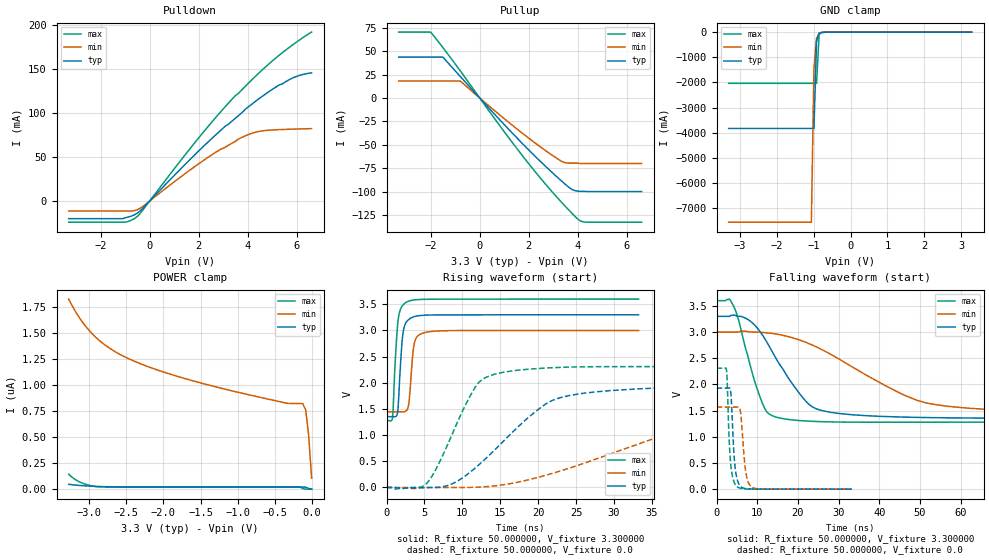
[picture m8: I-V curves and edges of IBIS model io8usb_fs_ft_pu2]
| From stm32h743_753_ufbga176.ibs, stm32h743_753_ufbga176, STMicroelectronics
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|   Model io8usb_fs_ft_pu2
[Model]  io8usb_fs_ft_pu2
Model_type I/O
Polarity   Non-Inverting
Enable   Active-Low
Vinl =   0.990000V
Vinh =   2.310000V
Vmeas =  1.650000V
Cref =   50.000000pF
Rref =   100.000000M
Vref =   0.0V
C_comp   7.942700pF   7.938600pF   8.018200pF
[Temperature Range]   25.000000   0.140000k   -40.000000
[Pullup Reference]   3.300000V   3.000000V   3.600000V
[Pulldown Reference]   0.0V   0.0V   0.0V
[POWER Clamp Reference]   3.300000V   3.000000V   3.600000V
[GND Clamp Reference]   0.0V   0.0V   0.0V
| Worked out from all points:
|   slope of the pulldown table from 0 to 0.495 V, typ, clamps not added: 34.4 ohm
|   slope of the pullup table from 0 to 0.495 V, typ, clamps not added: 34.9 ohm
|   GND clamp passes 1 mA (typ) near -0.48 V on its own axis
|   rising waveform, R_fixture 50.000000, V_fixture 3.300000: 20-80 % time 525ps typ, 539ps min, 539ps max; typ from 1.35 V to 3.3 V
|   rising waveform, R_fixture 50.000000, V_fixture 0.0: 20-80 % time 8.68ns typ, 19.1ns min, 4.5ns max; typ from 0 V to 1.93 V
|   falling waveform, R_fixture 50.000000, V_fixture 3.300000: 20-80 % time 9.71ns typ, 22.1ns min, 5.03ns max; typ from 3.3 V to 1.35 V
|   falling waveform, R_fixture 50.000000, V_fixture 0.0: 20-80 % time 881ps typ, 1.06ns min, 801ps max; typ from 1.93 V to 0 V
[Pulldown]
|Voltage   I(typ)   I(min)   I(max)
-3.3V     -20mA      -11.33mA   -24mA
-1.1V     -20mA      -11.33mA   -24mA
-1V       -19mA      -11.33mA   -24mA
-700mV    -16.61mA   -11.3mA    -21.09mA
-500mV    -13.7mA    -9.827mA   -17.43mA
2.2V      62.14mA    46.1mA     78.41mA
3.2V      86.85mA    63.07mA    110.6mA
3.8V      101.2mA    72.7mA     127.3mA
4.4V      114.8mA    78.57mA    143.7mA
5.3V      131.9mA    80.97mA    165.8mA
6V        141.4mA    81.64mA    180.5mA
6.6V      145.3mA    82.11mA    191.5mA
[Pullup]
|Voltage   I(typ)   I(min)   I(max)
-3.3V     43.61mA    18mA       70.29mA
-2V       43.61mA    18mA       70.29mA
-1.5V     43.61mA    18mA       53.8mA
-800mV    23.19mA    18mA       29.26mA
1.3V      -36.7mA    -28.54mA   -46.53mA
2.1V      -58.14mA   -44.97mA   -73.52mA
2.8V      -75.87mA   -58.37mA   -95.62mA
3.4V      -90.14mA   -68.4mA    -113.2mA
3.7V      -96.75mA   -69.59mA   -121.5mA
4V        -99.6mA    -69.59mA   -129.4mA
4.3V      -99.82mA   -70mA      -132.6mA
6.6V      -100mA     -70mA      -132.7mA
[GND_clamp]
|Voltage   I(typ)   I(min)   I(max)
-3.3V     -3.828A    -7.552A    -2.036A
-1.06V    -3.828A    -7.552A    -2.036A
-990mV    -3.828A    -1.425A    -2.036A
-920mV    -368.6mA   -243.1mA   -2.036A
-850mV    -40.93mA   -46.27mA   -98.44mA
-780mV    -13.14mA   -14.53mA   -15.81mA
-500mV    -1.208mA   -1.769mA   -1.059mA
3.28V     0A         -16.27nA   0A
[POWER_clamp]
|Voltage   I(typ)   I(min)   I(max)
-3.28V    46.7nA     1.827uA    143.8nA
-3.12V    34.88nA    1.631uA    65.26nA
-2.92V    26.91nA    1.463uA    25.4nA
-2.72V    22.4nA     1.351uA    21.72nA
-2.44V    19.67nA    1.244uA    21.72nA
-1.96V    19.67nA    1.117uA    21.72nA
-1.32V    19.67nA    987.7nA    21.72nA
-360mV    19.67nA    829.8nA    21.72nA
-120mV    19.67nA    821.7nA    6.261nA
-80mV     19.67nA    761.5nA    0A
-40mV     6.698nA    517.9nA    0A
0V        0A         105.7nA    0A
[Ramp]
| variable   typ   min   max
dV/dt_r  1.15824/8.67018n   0.94001/19.11307n   1.38576/4.49627n
dV/dt_f  1.16784/9.69381n   0.91770/22.03820n   1.39272/5.02666n
R_load = 50.000000
[Rising Waveform]
R_fixture= 50.000000
V_fixture= 3.300000
V_fixture_min= 3.000000
V_fixture_max= 3.600000
|time   V(typ)   V(min)   V(max)
0s        1.353V     1.446V     1.279V
800.8ps   1.354V     1.446V     1.345V
1.134ns   1.352V     1.446V     2.376V
1.468ns   1.441V     1.446V     3.119V
2.069ns   2.816V     1.445V     3.467V
2.669ns   3.172V     1.477V     3.545V
3.003ns   3.218V     1.682V     3.564V
3.67ns    3.266V     2.755V     3.584V
4.805ns   3.289V     2.95V      3.594V
33.23ns   3.3V       3V         3.6V
|33.233233nS   3.300000V   3.000000V   3.600000V
[Rising Waveform]
R_fixture= 50.000000
V_fixture= 0.0
V_fixture_min= 0.0
V_fixture_max= 0.0
|time   V(typ)   V(min)   V(max)
0s        309.7nV    10.39uV    -6.464uV
5.205ns   -1.407mV   -1.743mV   66.19mV
8.408ns   54.4mV     -666.4uV   933.9mV
11.81ns   386.3mV    4.649mV    1.941V
16.02ns   971.4mV    65.64mV    2.216V
20.82ns   1.579V     226mV      2.28V
24.02ns   1.755V     365.7mV    2.3V
39.64ns   1.917V     1.155V     2.31V
46.65ns   1.928V     1.377V     2.31V
99.7ns    1.93V      1.567V     2.31V
[Falling Waveform]
R_fixture= 50.000000
V_fixture= 3.300000
V_fixture_min= 3.000000
V_fixture_max= 3.600000
|time   V(typ)   V(min)   V(max)
0s        3.3V       3V         3.6V
3.203ns   3.3V       3V         3.63V
4.204ns   3.323V     3V         3.495V
11.01ns   2.974V     2.995V     1.693V
12.41ns   2.802V     2.985V     1.472V
14.61ns   2.497V     2.962V     1.377V
22.22ns   1.657V     2.795V     1.301V
28.03ns   1.468V     2.577V     1.285V
51.85ns   1.367V     1.641V     1.279V
99.7ns    1.353V     1.446V     1.279V
[Falling Waveform]
R_fixture= 50.000000
V_fixture= 0.0
V_fixture_min= 0.0
V_fixture_max= 0.0
|time   V(typ)   V(min)   V(max)
0s        1.93V      1.567V     2.31V
2.469ns   1.931V     1.567V     2.257V
3.07ns    1.932V     1.567V     1.007V
3.403ns   1.899V     1.567V     551.9mV
4.338ns   612.7mV    1.567V     129.9mV
5.005ns   208.8mV    1.568V     49.4mV
5.939ns   50.3mV     1.447V     15.23mV
7.274ns   9.861mV    286.8mV    2.817mV
8.542ns   4.072mV    47.13mV    1.514mV
33.23ns   629.7nV    11.94uV    -6.224uV
